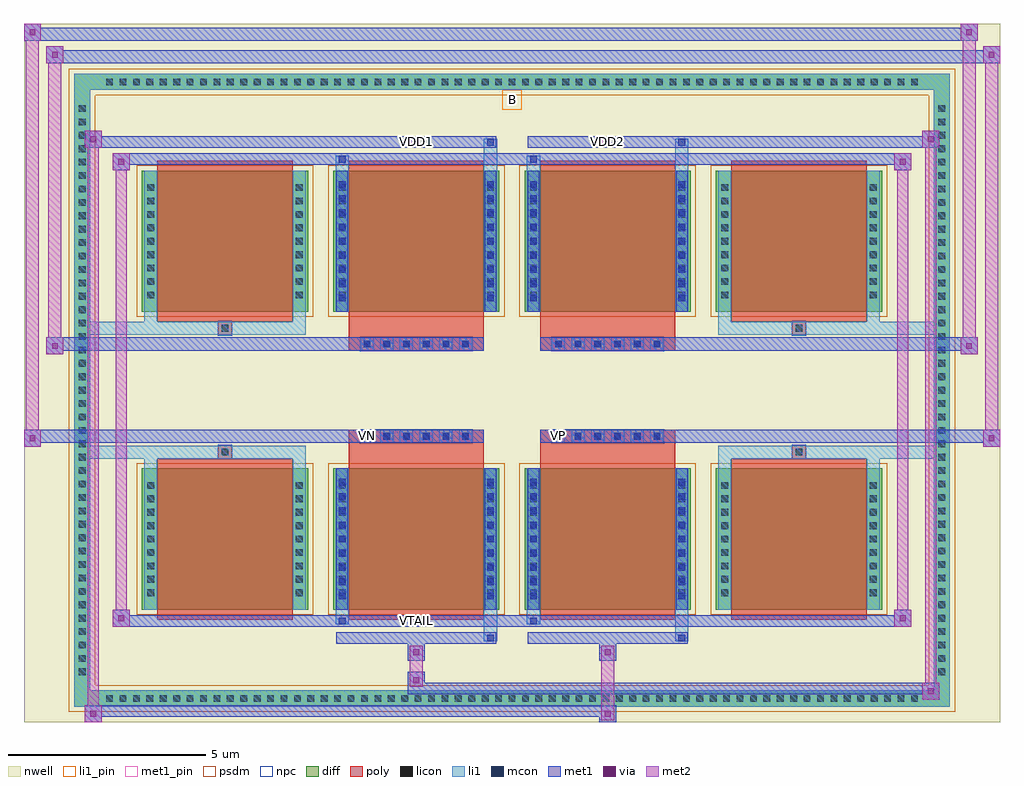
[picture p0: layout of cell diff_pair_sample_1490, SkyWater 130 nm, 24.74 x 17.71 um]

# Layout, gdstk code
import gdstk
lib = gdstk.Library(unit=1e-6, precision=5e-09)
def R(c, l, rs):  # rectangles x0, y0, x1, y1
    for r in rs: c.add(gdstk.rectangle(r[:2], r[2:], *l))
def A(c, l, x, y, w, h, nx, ny, dx, dy):  # array of equal rectangles
    R(c, l, [(x+i*dx, y+j*dy, x+i*dx+w, y+j*dy+h) for i in range(nx) for j in range(ny)])
def P(c, l, *ps):  # polygons
    for p in ps: c.add(gdstk.Polygon(p, *l))
nwell = (64, 20)
diff = (65, 20)
poly = (66, 20)
licon = (66, 44)
li1_pin = (67, 16)
li1 = (67, 20)
mcon = (67, 44)
met1_pin = (68, 16)
met1 = (68, 20)
via = (68, 44)
met2 = (69, 20)
psdm = (94, 20)
npc = (95, 20)

diff_pair_sample_1490 = lib.new_cell('diff_pair_sample_1490')
R(diff_pair_sample_1490, nwell, [(-12.37,-8.42,12.37,9.29), (-9.69,-6.61,-0.01,-0.805), (0.01,-6.61,9.69,-0.805), (-9.69,0.805,-0.01,6.61), (0.01,0.805,9.69,6.61)])
A(diff_pair_sample_1490, diff, -10.405, -8.02, 0.41, 0.41, 61, 2, 0.34, 15.63)
A(diff_pair_sample_1490, diff, -11.1, -7.345, 0.41, 0.41, 1, 43, 0, 0.34)
A(diff_pair_sample_1490, diff, 10.69, -7.345, 0.41, 0.41, 1, 43, 0, 0.34)
A(diff_pair_sample_1490, diff, -9.38, -5.565, 4.21, 3.58, 4, 2, 4.85, 7.55)
R(diff_pair_sample_1490, diff, [(-10.405,-8.02,10.405,-7.61), (-11.1,-7.345,-10.69,7.345), (10.69,-7.345,11.1,7.345), (-10.405,7.61,10.405,8.02)])
P(diff_pair_sample_1490, diff, [(11.1,8.02),(-11.1,8.02),(-11.1,-7.61),(-10.69,-7.61),(-10.69,7.61),(10.69,7.61),(10.69,-7.61),(-10.69,-7.61),(-11.1,-7.61),(-11.1,-8.02),(11.1,-8.02)])
A(diff_pair_sample_1490, poly, -8.99, -5.815, 3.43, 4.08, 4, 2, 4.85, 7.55)
A(diff_pair_sample_1490, poly, -3.84, -1.335, 0.33, 0.33, 6, 2, 0.5, 2.34)
A(diff_pair_sample_1490, poly, 1.01, -1.335, 0.33, 0.33, 6, 2, 0.5, 2.34)
R(diff_pair_sample_1490, poly, [(-7.44,-1.735,-7.11,-1.405), (-7.44,-1.735,-7.11,-1.405), (-4.14,-1.735,-0.71,-1.335), (0.71,-1.735,4.14,-1.335), (7.11,-1.735,7.44,-1.405), (7.11,-1.735,7.44,-1.405), (-4.14,-1.335,-0.71,-1.005), (0.71,-1.335,4.14,-1.005), (-4.14,1.005,-0.71,1.335), (0.71,1.005,4.14,1.335), (-4.14,1.335,-0.71,1.735), (0.71,1.335,4.14,1.735), (-7.44,1.405,-7.11,1.735), (-7.44,1.405,-7.11,1.735), (7.11,1.405,7.44,1.735), (7.11,1.405,7.44,1.735)])
A(diff_pair_sample_1490, licon, -10.285, -7.9, 0.17, 0.17, 61, 2, 0.34, 15.63)
A(diff_pair_sample_1490, licon, -10.98, -7.225, 0.17, 0.17, 1, 43, 0, 0.34)
A(diff_pair_sample_1490, licon, 10.81, -7.225, 0.17, 0.17, 1, 43, 0, 0.34)
A(diff_pair_sample_1490, licon, -9.24, -5.22, 0.17, 0.17, 1, 9, 0, 0.34)
A(diff_pair_sample_1490, licon, -5.48, -5.22, 0.17, 0.17, 1, 9, 0, 0.34)
A(diff_pair_sample_1490, licon, -4.39, -5.22, 0.17, 0.17, 1, 9, 0, 0.34)
A(diff_pair_sample_1490, licon, -0.63, -5.22, 0.17, 0.17, 1, 9, 0, 0.34)
A(diff_pair_sample_1490, licon, 0.46, -5.22, 0.17, 0.17, 1, 9, 0, 0.34)
A(diff_pair_sample_1490, licon, 4.22, -5.22, 0.17, 0.17, 1, 9, 0, 0.34)
A(diff_pair_sample_1490, licon, 5.31, -5.22, 0.17, 0.17, 1, 9, 0, 0.34)
A(diff_pair_sample_1490, licon, 9.07, -5.22, 0.17, 0.17, 1, 9, 0, 0.34)
A(diff_pair_sample_1490, licon, -3.76, -1.255, 0.17, 0.17, 6, 2, 0.5, 2.34)
A(diff_pair_sample_1490, licon, 1.09, -1.255, 0.17, 0.17, 6, 2, 0.5, 2.34)
A(diff_pair_sample_1490, licon, -9.24, 2.33, 0.17, 0.17, 1, 9, 0, 0.34)
A(diff_pair_sample_1490, licon, -5.48, 2.33, 0.17, 0.17, 1, 9, 0, 0.34)
A(diff_pair_sample_1490, licon, -4.39, 2.33, 0.17, 0.17, 1, 9, 0, 0.34)
A(diff_pair_sample_1490, licon, -0.63, 2.33, 0.17, 0.17, 1, 9, 0, 0.34)
A(diff_pair_sample_1490, licon, 0.46, 2.33, 0.17, 0.17, 1, 9, 0, 0.34)
A(diff_pair_sample_1490, licon, 4.22, 2.33, 0.17, 0.17, 1, 9, 0, 0.34)
A(diff_pair_sample_1490, licon, 5.31, 2.33, 0.17, 0.17, 1, 9, 0, 0.34)
A(diff_pair_sample_1490, licon, 9.07, 2.33, 0.17, 0.17, 1, 9, 0, 0.34)
R(diff_pair_sample_1490, licon, [(-7.36,-1.655,-7.19,-1.485), (7.19,-1.655,7.36,-1.485), (-7.36,1.485,-7.19,1.655), (7.19,1.485,7.36,1.655)])
R(diff_pair_sample_1490, li1_pin, [(-0.25,7.11,0.25,7.61)])
A(diff_pair_sample_1490, li1, -10.365, -7.98, 0.33, 0.33, 61, 2, 0.34, 15.63)
A(diff_pair_sample_1490, li1, -11.06, -7.305, 0.33, 0.33, 1, 43, 0, 0.34)
A(diff_pair_sample_1490, li1, 10.73, -7.305, 0.33, 0.33, 1, 43, 0, 0.34)
A(diff_pair_sample_1490, li1, -9.32, -5.3, 0.33, 0.33, 1, 9, 0, 0.34)
A(diff_pair_sample_1490, li1, -5.56, -5.3, 0.33, 0.33, 1, 9, 0, 0.34)
A(diff_pair_sample_1490, li1, -4.47, -5.3, 0.33, 0.33, 1, 9, 0, 0.34)
A(diff_pair_sample_1490, li1, -4.39, -5.3, 0.17, 0.17, 1, 9, 0, 0.36)
A(diff_pair_sample_1490, li1, -0.71, -5.3, 0.33, 0.33, 1, 9, 0, 0.34)
A(diff_pair_sample_1490, li1, -0.63, -5.3, 0.17, 0.17, 1, 9, 0, 0.36)
A(diff_pair_sample_1490, li1, 0.38, -5.3, 0.33, 0.33, 1, 9, 0, 0.34)
A(diff_pair_sample_1490, li1, 0.46, -5.3, 0.17, 0.17, 1, 9, 0, 0.36)
A(diff_pair_sample_1490, li1, 4.14, -5.3, 0.33, 0.33, 1, 9, 0, 0.34)
A(diff_pair_sample_1490, li1, 4.22, -5.3, 0.17, 0.17, 1, 9, 0, 0.36)
A(diff_pair_sample_1490, li1, 5.23, -5.3, 0.33, 0.33, 1, 9, 0, 0.34)
A(diff_pair_sample_1490, li1, 8.99, -5.3, 0.33, 0.33, 1, 9, 0, 0.34)
A(diff_pair_sample_1490, li1, -3.84, -1.335, 0.33, 0.33, 6, 2, 0.5, 2.34)
A(diff_pair_sample_1490, li1, 1.01, -1.335, 0.33, 0.33, 6, 2, 0.5, 2.34)
A(diff_pair_sample_1490, li1, -9.32, 2.25, 0.33, 0.33, 1, 9, 0, 0.34)
A(diff_pair_sample_1490, li1, -5.56, 2.25, 0.33, 0.33, 1, 9, 0, 0.34)
A(diff_pair_sample_1490, li1, -4.47, 2.25, 0.33, 0.33, 1, 9, 0, 0.34)
A(diff_pair_sample_1490, li1, -4.39, 2.25, 0.17, 0.17, 1, 9, 0, 0.36)
A(diff_pair_sample_1490, li1, -0.71, 2.25, 0.33, 0.33, 1, 9, 0, 0.34)
A(diff_pair_sample_1490, li1, -0.63, 2.25, 0.17, 0.17, 1, 9, 0, 0.36)
A(diff_pair_sample_1490, li1, 0.38, 2.25, 0.33, 0.33, 1, 9, 0, 0.34)
A(diff_pair_sample_1490, li1, 0.46, 2.25, 0.17, 0.17, 1, 9, 0, 0.36)
A(diff_pair_sample_1490, li1, 4.14, 2.25, 0.33, 0.33, 1, 9, 0, 0.34)
A(diff_pair_sample_1490, li1, 4.22, 2.25, 0.17, 0.17, 1, 9, 0, 0.36)
A(diff_pair_sample_1490, li1, 5.23, 2.25, 0.33, 0.33, 1, 9, 0, 0.34)
A(diff_pair_sample_1490, li1, 8.99, 2.25, 0.33, 0.33, 1, 9, 0, 0.34)
R(diff_pair_sample_1490, li1, [(-11.1,-8.02,-10.69,-7.61), (-11.1,-8.02,-10.69,-7.61), (-10.69,-8.02,10.69,-7.61), (10.69,-8.02,11.1,-7.61), (10.69,-8.02,11.1,-7.61), (-11.1,-7.61,-10.69,7.61), (10.69,-7.61,11.1,7.61), (-0.71,-6.37,-0.38,-5.565), (-0.63,-6.37,-0.46,-6.2), (4.14,-6.37,4.47,-5.565), (4.22,-6.37,4.39,-6.2), (-4.47,-5.94,-4.14,-5.565), (-4.39,-5.94,-4.22,-5.77), (0.38,-5.94,0.71,-5.565), (0.46,-5.94,0.63,-5.77), (-9.32,-5.565,-8.99,-1.985), (-5.56,-5.565,-5.23,-1.985), (-4.47,-5.565,-4.14,-1.985), (-0.71,-5.565,-0.38,-1.985), (0.38,-5.565,0.71,-1.985), (4.14,-5.565,4.47,-1.985), (5.23,-5.565,5.56,-1.985), (8.99,-5.565,9.32,-1.985), (-4.39,-5.3,-4.22,-2.25), (-0.63,-5.3,-0.46,-2.25), (0.46,-5.3,0.63,-2.25), (4.22,-5.3,4.39,-2.25), (-9.32,-1.985,-8.99,-1.405), (-5.56,-1.985,-5.23,-1.405), (5.23,-1.985,5.56,-1.405), (8.99,-1.985,9.32,-1.405), (-11.1,-1.735,-7.44,-1.405), (-9.32,-1.735,-7.44,-1.405), (-7.44,-1.735,-7.11,-1.405), (-7.11,-1.735,-5.23,-1.405), (5.23,-1.735,7.11,-1.405), (7.11,-1.735,7.44,-1.405), (7.11,-1.735,11.1,-1.405), (7.44,-1.735,9.32,-1.405), (-11.1,1.405,-7.44,1.735), (-9.32,1.405,-7.44,1.735), (-9.32,1.405,-8.99,1.985), (-7.44,1.405,-7.11,1.735), (-7.11,1.405,-5.23,1.735), (-5.56,1.405,-5.23,1.985), (5.23,1.405,7.11,1.735), (5.23,1.405,5.56,1.985), (7.11,1.405,7.44,1.735), (7.11,1.405,11.1,1.735), (7.44,1.405,9.32,1.735), (8.99,1.405,9.32,1.985), (-9.32,1.985,-8.99,5.565), (-5.56,1.985,-5.23,5.565), (-4.47,1.985,-4.14,5.565), (-0.71,1.985,-0.38,5.565), (0.38,1.985,0.71,5.565), (4.14,1.985,4.47,5.565), (5.23,1.985,5.56,5.565), (8.99,1.985,9.32,5.565), (-4.39,2.25,-4.22,5.3), (-0.63,2.25,-0.46,5.3), (0.46,2.25,0.63,5.3), (4.22,2.25,4.39,5.3), (-4.47,5.565,-4.14,5.94), (-0.71,5.565,-0.38,6.37), (0.38,5.565,0.71,5.94), (4.14,5.565,4.47,6.37), (-4.39,5.77,-4.22,5.94), (0.46,5.77,0.63,5.94), (-0.63,6.2,-0.46,6.37), (4.22,6.2,4.39,6.37), (-11.1,7.61,-10.69,8.02), (-11.1,7.61,-10.69,8.02), (-10.69,7.61,10.69,8.02), (10.69,7.61,11.1,8.02), (10.69,7.61,11.1,8.02)])
A(diff_pair_sample_1490, mcon, -4.39, -5.3, 0.17, 0.17, 1, 9, 0, 0.36)
A(diff_pair_sample_1490, mcon, -0.63, -5.3, 0.17, 0.17, 1, 9, 0, 0.36)
A(diff_pair_sample_1490, mcon, 0.46, -5.3, 0.17, 0.17, 1, 9, 0, 0.36)
A(diff_pair_sample_1490, mcon, 4.22, -5.3, 0.17, 0.17, 1, 9, 0, 0.36)
A(diff_pair_sample_1490, mcon, -3.76, -1.255, 0.17, 0.17, 6, 2, 0.5, 2.34)
A(diff_pair_sample_1490, mcon, 1.09, -1.255, 0.17, 0.17, 6, 2, 0.5, 2.34)
A(diff_pair_sample_1490, mcon, -4.39, 2.25, 0.17, 0.17, 1, 9, 0, 0.36)
A(diff_pair_sample_1490, mcon, -0.63, 2.25, 0.17, 0.17, 1, 9, 0, 0.36)
A(diff_pair_sample_1490, mcon, 0.46, 2.25, 0.17, 0.17, 1, 9, 0, 0.36)
A(diff_pair_sample_1490, mcon, 4.22, 2.25, 0.17, 0.17, 1, 9, 0, 0.36)
R(diff_pair_sample_1490, mcon, [(-0.63,-6.37,-0.46,-6.2), (4.22,-6.37,4.39,-6.2), (-4.39,-5.94,-4.22,-5.77), (0.46,-5.94,0.63,-5.77), (-4.39,5.77,-4.22,5.94), (0.46,5.77,0.63,5.94), (-0.63,6.2,-0.46,6.37), (4.22,6.2,4.39,6.37)])
R(diff_pair_sample_1490, met1_pin, [(-2.56,-5.98,-2.29,-5.71), (-3.81,-1.295,-3.54,-1.025), (1.04,-1.295,1.31,-1.025), (-2.56,6.16,-2.29,6.43), (2.29,6.16,2.56,6.43)])
A(diff_pair_sample_1490, met1, -4.45, -5.36, 0.29, 0.29, 1, 9, 0, 0.36)
A(diff_pair_sample_1490, met1, -0.69, -5.36, 0.29, 0.29, 1, 9, 0, 0.36)
A(diff_pair_sample_1490, met1, 0.4, -5.36, 0.29, 0.29, 1, 9, 0, 0.36)
A(diff_pair_sample_1490, met1, 4.16, -5.36, 0.29, 0.29, 1, 9, 0, 0.36)
A(diff_pair_sample_1490, met1, -3.82, -1.315, 0.29, 0.29, 6, 2, 0.5, 2.34)
A(diff_pair_sample_1490, met1, 1.03, -1.315, 0.29, 0.29, 6, 2, 0.5, 2.34)
A(diff_pair_sample_1490, met1, -4.45, 2.19, 0.29, 0.29, 1, 9, 0, 0.36)
A(diff_pair_sample_1490, met1, -0.69, 2.19, 0.29, 0.29, 1, 9, 0, 0.36)
A(diff_pair_sample_1490, met1, 0.4, 2.19, 0.29, 0.29, 1, 9, 0, 0.36)
A(diff_pair_sample_1490, met1, 4.16, 2.19, 0.29, 0.29, 1, 9, 0, 0.36)
R(diff_pair_sample_1490, met1, [(-10.83,-8.42,-10.4,-7.99), (2.21,-8.42,2.64,-7.99), (-10.83,-8.28,2.64,-7.99), (10.4,-7.85,10.83,-7.42), (-2.64,-7.71,10.83,-7.42), (-2.64,-7.57,-2.21,-7.14), (-2.64,-6.86,-2.21,-6.43), (2.21,-6.86,2.64,-6.43), (-4.45,-6.43,-0.4,-6.14), (-0.69,-6.43,-0.4,-6.14), (0.4,-6.43,4.45,-6.14), (4.16,-6.43,4.45,-6.14), (-10.12,-6,-9.69,-5.57), (-10.12,-6,-4.45,-5.71), (-4.45,-6,-4.16,-5.71), (-4.45,-6,-0.4,-5.71), (-0.4,-6,0.4,-5.71), (0.4,-6,0.69,-5.71), (0.4,-6,4.45,-5.71), (4.45,-6,10.12,-5.71), (9.69,-6,10.12,-5.57), (-4.45,-5.565,-4.16,-1.985), (-0.69,-5.565,-0.4,-1.985), (0.4,-5.565,0.69,-1.985), (4.16,-5.565,4.45,-1.985), (-12.37,-1.435,-11.94,-1.005), (11.94,-1.435,12.37,-1.005), (-12.37,-1.335,-0.71,-1.005), (-4.14,-1.335,-0.71,-1.005), (0.71,-1.335,4.14,-1.005), (0.71,-1.335,12.37,-1.005), (-11.8,0.905,-11.37,1.335), (11.37,0.905,11.8,1.335), (-11.8,1.005,-4.14,1.335), (-4.14,1.005,-0.71,1.335), (0.71,1.005,4.14,1.335), (4.14,1.005,11.8,1.335), (-4.45,1.985,-4.16,5.565), (-0.69,1.985,-0.4,5.565), (0.4,1.985,0.69,5.565), (4.16,1.985,4.45,5.565), (-10.12,5.57,-9.69,6), (9.69,5.57,10.12,6), (-10.12,5.71,-4.45,6), (-4.45,5.71,-4.16,6), (-4.45,5.71,-0.4,6), (-0.4,5.71,0.4,6), (0.4,5.71,0.69,6), (0.4,5.71,4.45,6), (4.45,5.71,10.12,6), (-10.83,6.14,-10.4,6.57), (-10.83,6.14,-4.45,6.43), (-4.45,6.14,-0.4,6.43), (-0.69,6.14,-0.4,6.43), (0.4,6.14,4.45,6.43), (4.16,6.14,4.45,6.43), (4.45,6.14,10.83,6.43), (10.4,6.14,10.83,6.57), (-11.8,8.29,-11.37,8.72), (-11.8,8.29,-9.69,8.62), (-9.69,8.29,9.69,8.62), (9.69,8.29,12.37,8.62), (11.94,8.29,12.37,8.72), (-12.37,8.86,-11.94,9.29), (-12.37,8.86,-9.69,9.19), (-9.69,8.86,9.69,9.19), (9.69,8.86,11.8,9.19), (11.37,8.86,11.8,9.29)])
R(diff_pair_sample_1490, via, [(-10.69,-8.28,-10.54,-8.13), (2.35,-8.28,2.5,-8.13), (10.54,-7.71,10.69,-7.56), (-2.5,-7.43,-2.35,-7.28), (-2.5,-6.72,-2.35,-6.57), (2.35,-6.72,2.5,-6.57), (-9.98,-5.86,-9.83,-5.71), (9.83,-5.86,9.98,-5.71), (-12.23,-1.295,-12.08,-1.145), (12.08,-1.295,12.23,-1.145), (-11.66,1.045,-11.51,1.195), (11.51,1.045,11.66,1.195), (-9.98,5.71,-9.83,5.86), (9.83,5.71,9.98,5.86), (-10.69,6.28,-10.54,6.43), (10.54,6.28,10.69,6.43), (-11.66,8.43,-11.51,8.58), (12.08,8.43,12.23,8.58), (-12.23,9,-12.08,9.15), (11.51,9,11.66,9.15)])
R(diff_pair_sample_1490, met2, [(-10.83,-8.42,-10.4,-7.99), (-10.76,-8.42,-10.47,6.57), (-10.47,-8.42,-10.4,-7.99), (-10.78,-8.37,-10.45,-8.04), (2.26,-8.37,2.59,-8.04), (2.26,-8.04,2.59,-6.81), (10.4,-7.85,10.83,-7.42), (10.47,-7.85,10.76,6.57), (10.76,-7.85,10.83,-7.42), (10.45,-7.8,10.78,-7.47), (-2.59,-7.52,-2.26,-7.19), (-2.59,-7.19,-2.26,-6.81), (-2.59,-6.81,-2.26,-6.48), (2.26,-6.81,2.59,-6.48), (-10.12,-6,-9.69,-5.57), (-10.05,-6,-9.76,6), (-9.76,-6,-9.69,-5.57), (9.69,-6,10.12,-5.57), (9.76,-6,10.05,6), (10.05,-6,10.12,-5.57), (-10.07,-5.95,-9.74,-5.62), (9.74,-5.95,10.07,-5.62), (-12.37,-1.435,-11.94,-1.005), (-12.32,-1.435,-11.99,9.29), (-11.99,-1.435,-11.94,-1.005), (11.94,-1.435,12.37,-1.005), (11.99,-1.435,12.32,8.72), (12.32,-1.435,12.37,-1.005), (-12.32,-1.385,-11.99,-1.055), (11.99,-1.385,12.32,-1.055), (-11.8,0.905,-11.37,1.335), (-11.75,0.905,-11.42,8.72), (-11.42,0.905,-11.37,1.335), (11.37,0.905,11.8,1.335), (11.42,0.905,11.75,9.29), (11.75,0.905,11.8,1.335), (-11.75,0.955,-11.42,1.285), (11.42,0.955,11.75,1.285), (-10.12,5.57,-9.69,6), (-9.76,5.57,-9.69,6), (9.69,5.57,10.12,6), (10.05,5.57,10.12,6), (-10.07,5.62,-9.74,5.95), (9.74,5.62,10.07,5.95), (-10.83,6.14,-10.4,6.57), (-10.47,6.14,-10.4,6.57), (10.4,6.14,10.83,6.57), (10.76,6.14,10.83,6.57), (-10.78,6.19,-10.45,6.52), (10.45,6.19,10.78,6.52), (-11.8,8.29,-11.37,8.72), (-11.42,8.29,-11.37,8.72), (11.94,8.29,12.37,8.72), (12.32,8.29,12.37,8.72), (-11.75,8.34,-11.42,8.67), (11.99,8.34,12.32,8.67), (-12.37,8.86,-11.94,9.29), (-11.99,8.86,-11.94,9.29), (11.37,8.86,11.8,9.29), (11.75,8.86,11.8,9.29), (-12.32,8.91,-11.99,9.24), (11.42,8.91,11.75,9.24)])
A(diff_pair_sample_1490, psdm, -9.51, -5.695, 4.47, 3.84, 4, 2, 4.85, 7.55)
P(diff_pair_sample_1490, psdm, [(11.23,8.15),(-11.23,8.15),(-11.23,-7.48),(-10.56,-7.48),(-10.56,7.48),(10.56,7.48),(10.56,-7.48),(-10.56,-7.48),(-11.23,-7.48),(-11.23,-8.15),(11.23,-8.15)])
A(diff_pair_sample_1490, npc, -3.86, -1.355, 0.37, 0.37, 6, 2, 0.5, 2.34)
A(diff_pair_sample_1490, npc, 0.99, -1.355, 0.37, 0.37, 6, 2, 0.5, 2.34)
R(diff_pair_sample_1490, npc, [(-7.46,-1.755,-7.09,-1.385), (7.09,-1.755,7.46,-1.385), (-3.86,-1.355,-2.99,-0.985), (-3.86,-1.355,-2.99,-0.985), (-3.36,-1.355,-2.49,-0.985), (-3.36,-1.355,-2.49,-0.985), (-2.86,-1.355,-1.99,-0.985), (-2.86,-1.355,-1.99,-0.985), (-2.36,-1.355,-1.49,-0.985), (-2.36,-1.355,-1.49,-0.985), (-1.86,-1.355,-0.99,-0.985), (-1.86,-1.355,-0.99,-0.985), (0.99,-1.355,1.86,-0.985), (0.99,-1.355,1.86,-0.985), (1.49,-1.355,2.36,-0.985), (1.49,-1.355,2.36,-0.985), (1.99,-1.355,2.86,-0.985), (1.99,-1.355,2.86,-0.985), (2.49,-1.355,3.36,-0.985), (2.49,-1.355,3.36,-0.985), (2.99,-1.355,3.86,-0.985), (2.99,-1.355,3.86,-0.985), (-3.86,0.985,-2.99,1.355), (-3.86,0.985,-2.99,1.355), (-3.36,0.985,-2.49,1.355), (-3.36,0.985,-2.49,1.355), (-2.86,0.985,-1.99,1.355), (-2.86,0.985,-1.99,1.355), (-2.36,0.985,-1.49,1.355), (-2.36,0.985,-1.49,1.355), (-1.86,0.985,-0.99,1.355), (-1.86,0.985,-0.99,1.355), (0.99,0.985,1.86,1.355), (0.99,0.985,1.86,1.355), (1.49,0.985,2.36,1.355), (1.49,0.985,2.36,1.355), (1.99,0.985,2.86,1.355), (1.99,0.985,2.86,1.355), (2.49,0.985,3.36,1.355), (2.49,0.985,3.36,1.355), (2.99,0.985,3.86,1.355), (2.99,0.985,3.86,1.355), (-7.46,1.385,-7.09,1.755), (7.09,1.385,7.46,1.755)])
diff_pair_sample_1490.add(gdstk.Label('VTAIL', (-2.425,-5.845), layer=68, texttype=5))
diff_pair_sample_1490.add(gdstk.Label('VN', (-3.675,-1.16), layer=68, texttype=5))
diff_pair_sample_1490.add(gdstk.Label('VP', (1.175,-1.16), layer=68, texttype=5))
diff_pair_sample_1490.add(gdstk.Label('B', (0,7.36), layer=67, texttype=5))
diff_pair_sample_1490.add(gdstk.Label('VDD2', (2.425,6.295), layer=68, texttype=5))
diff_pair_sample_1490.add(gdstk.Label('VDD1', (-2.425,6.295), layer=68, texttype=5))

lib.write_gds('diff_pair_sample_1490.gds')
